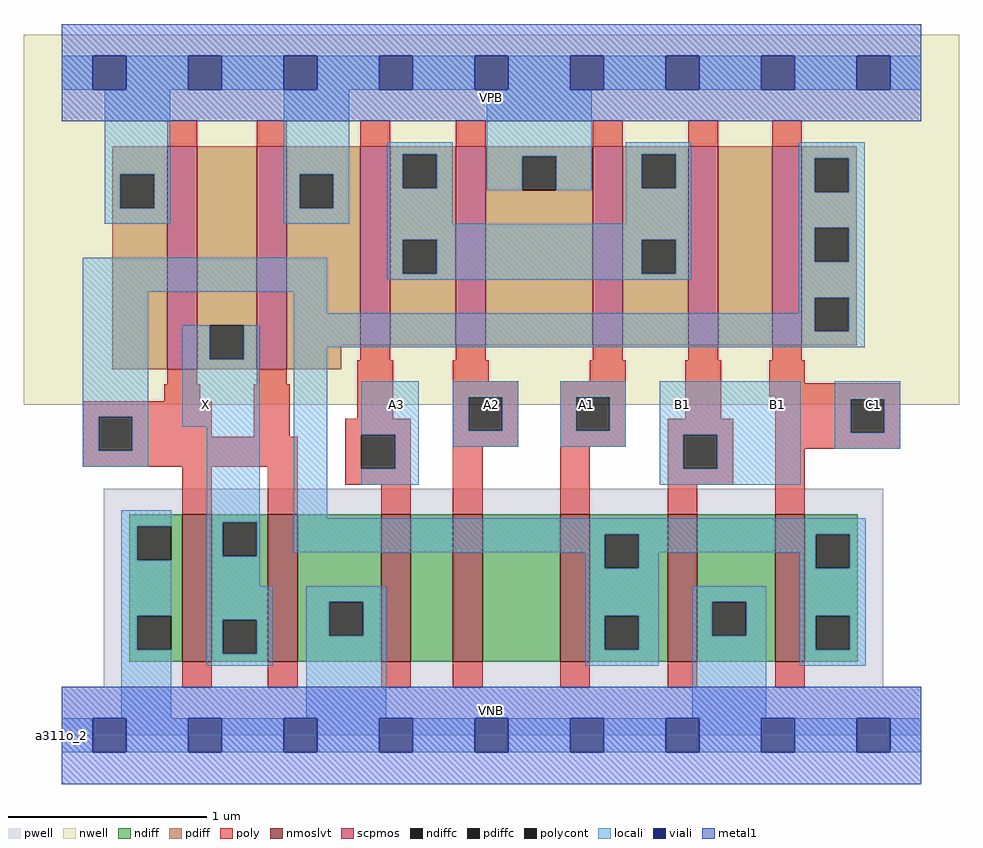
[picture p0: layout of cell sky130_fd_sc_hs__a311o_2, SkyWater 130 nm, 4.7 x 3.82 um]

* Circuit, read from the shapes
.subckt sky130_fd_sc_hs__a311o_2 A1 A2 A3 B1 C1 VGND VNB VPB VPWR X
XM1 X n1 VGND VNB sky130_fd_pr__nfet_01v8_lvt w=0.74 l=0.15 m=2
XM2 n2 A3 VGND VNB sky130_fd_pr__nfet_01v8_lvt w=0.74 l=0.15
XM3 n3 A2 n2 VNB sky130_fd_pr__nfet_01v8_lvt w=0.74 l=0.15
XM4 n1 A1 n3 VNB sky130_fd_pr__nfet_01v8_lvt w=0.74 l=0.15
XM5 VGND B1 n1 VNB sky130_fd_pr__nfet_01v8_lvt w=0.74 l=0.15
XM6 n1 C1 VGND VNB sky130_fd_pr__nfet_01v8_lvt w=0.74 l=0.15
XM7 X n1 VPWR VPB sky130_fd_pr__pfet_01v8 w=1.12 l=0.15 m=2
XM8 n4 A3 VPWR VPB sky130_fd_pr__pfet_01v8 w=1 l=0.15
XM9 VPWR A2 n4 VPB sky130_fd_pr__pfet_01v8 w=1 l=0.15
XM10 n4 A1 VPWR VPB sky130_fd_pr__pfet_01v8 w=1 l=0.15
XM11 n5 B1 n4 VPB sky130_fd_pr__pfet_01v8 w=1 l=0.15
XM12 n1 C1 n5 VPB sky130_fd_pr__pfet_01v8 w=1 l=0.15
.ends

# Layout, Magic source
magic
tech sky130A
magscale 1 2
<< nwell >>
rect -38 332 902 704
<< pwell >>
rect 42 49 826 248
rect 0 0 864 49
<< scpmos >>
rect 106 368 136 592
rect 196 368 226 592
rect 300 392 330 592
rect 396 392 426 592
rect 534 392 564 592
rect 630 392 660 592
rect 714 392 744 592
<< nmoslvt >>
rect 121 74 151 222
rect 207 74 237 222
rect 321 74 351 222
rect 393 74 423 222
rect 501 74 531 222
rect 609 74 639 222
rect 717 74 747 222
<< ndiff >>
rect 68 210 121 222
rect 68 176 76 210
rect 110 176 121 210
rect 68 120 121 176
rect 68 86 76 120
rect 110 86 121 120
rect 68 74 121 86
rect 151 214 207 222
rect 151 180 162 214
rect 196 180 207 214
rect 151 116 207 180
rect 151 82 162 116
rect 196 82 207 116
rect 151 74 207 82
rect 237 134 321 222
rect 237 100 269 134
rect 303 100 321 134
rect 237 74 321 100
rect 351 74 393 222
rect 423 74 501 222
rect 531 202 609 222
rect 531 168 546 202
rect 580 168 609 202
rect 531 120 609 168
rect 531 86 546 120
rect 580 86 609 120
rect 531 74 609 86
rect 639 134 717 222
rect 639 100 654 134
rect 688 100 717 134
rect 639 74 717 100
rect 747 202 800 222
rect 747 168 758 202
rect 792 168 800 202
rect 747 120 800 168
rect 747 86 758 120
rect 792 86 800 120
rect 747 74 800 86
<< pdiff >>
rect 51 564 106 592
rect 51 530 59 564
rect 93 530 106 564
rect 51 368 106 530
rect 136 412 196 592
rect 136 378 149 412
rect 183 378 196 412
rect 136 368 196 378
rect 226 564 300 592
rect 226 530 239 564
rect 273 530 300 564
rect 226 392 300 530
rect 330 584 396 592
rect 330 550 343 584
rect 377 550 396 584
rect 330 498 396 550
rect 330 464 343 498
rect 377 464 396 498
rect 330 392 396 464
rect 426 582 534 592
rect 426 548 463 582
rect 497 548 534 582
rect 426 392 534 548
rect 564 584 630 592
rect 564 550 583 584
rect 617 550 630 584
rect 564 498 630 550
rect 564 464 583 498
rect 617 464 630 498
rect 564 392 630 464
rect 660 392 714 592
rect 744 580 799 592
rect 744 546 757 580
rect 791 546 799 580
rect 744 510 799 546
rect 744 476 757 510
rect 791 476 799 510
rect 744 440 799 476
rect 744 406 757 440
rect 791 406 799 440
rect 744 392 799 406
rect 226 368 281 392
<< ndiffc >>
rect 76 176 110 210
rect 76 86 110 120
rect 162 180 196 214
rect 162 82 196 116
rect 269 100 303 134
rect 546 168 580 202
rect 546 86 580 120
rect 654 100 688 134
rect 758 168 792 202
rect 758 86 792 120
<< pdiffc >>
rect 59 530 93 564
rect 149 378 183 412
rect 239 530 273 564
rect 343 550 377 584
rect 343 464 377 498
rect 463 548 497 582
rect 583 550 617 584
rect 583 464 617 498
rect 757 546 791 580
rect 757 476 791 510
rect 757 406 791 440
<< poly >>
rect 106 592 136 618
rect 196 592 226 618
rect 300 592 330 618
rect 396 592 426 618
rect 534 592 564 618
rect 630 592 660 618
rect 714 592 744 618
rect 300 377 330 392
rect 396 377 426 392
rect 534 377 564 392
rect 630 377 660 392
rect 714 377 744 392
rect 106 353 136 368
rect 196 353 226 368
rect 103 336 139 353
rect 21 320 151 336
rect 21 286 37 320
rect 71 300 151 320
rect 193 300 229 353
rect 297 318 333 377
rect 393 356 429 377
rect 531 356 567 377
rect 393 340 459 356
rect 285 302 351 318
rect 71 286 237 300
rect 21 270 237 286
rect 121 222 151 270
rect 207 222 237 270
rect 285 268 301 302
rect 335 268 351 302
rect 285 252 351 268
rect 321 222 351 252
rect 393 306 409 340
rect 443 306 459 340
rect 393 290 459 306
rect 501 340 567 356
rect 501 306 517 340
rect 551 306 567 340
rect 627 318 663 377
rect 711 354 747 377
rect 711 341 843 354
rect 717 338 843 341
rect 501 290 567 306
rect 609 302 675 318
rect 393 222 423 290
rect 501 222 531 290
rect 609 268 625 302
rect 659 268 675 302
rect 609 252 675 268
rect 717 304 793 338
rect 827 304 843 338
rect 717 288 843 304
rect 609 222 639 252
rect 717 222 747 288
rect 121 48 151 74
rect 207 48 237 74
rect 321 48 351 74
rect 393 48 423 74
rect 501 48 531 74
rect 609 48 639 74
rect 717 48 747 74
<< polycont >>
rect 37 286 71 320
rect 301 268 335 302
rect 409 306 443 340
rect 517 306 551 340
rect 625 268 659 302
rect 793 304 827 338
<< locali >>
rect 0 649 31 683
rect 65 649 127 683
rect 161 649 223 683
rect 257 649 319 683
rect 353 649 415 683
rect 449 649 511 683
rect 545 649 607 683
rect 641 649 703 683
rect 737 649 799 683
rect 833 649 864 683
rect 43 564 109 649
rect 43 530 59 564
rect 93 530 109 564
rect 43 514 109 530
rect 223 564 289 649
rect 223 530 239 564
rect 273 530 289 564
rect 223 514 289 530
rect 327 584 393 596
rect 327 550 343 584
rect 377 550 393 584
rect 327 514 393 550
rect 427 582 533 649
rect 427 548 463 582
rect 497 548 533 582
rect 567 584 633 596
rect 567 550 583 584
rect 617 550 633 584
rect 567 514 633 550
rect 327 498 633 514
rect 21 446 267 480
rect 327 464 343 498
rect 377 464 583 498
rect 617 464 633 498
rect 327 458 633 464
rect 741 580 807 596
rect 741 546 757 580
rect 791 546 807 580
rect 741 510 807 546
rect 741 476 757 510
rect 791 476 807 510
rect 21 320 87 446
rect 233 424 267 446
rect 741 440 807 476
rect 741 424 757 440
rect 21 286 37 320
rect 71 286 87 320
rect 121 378 149 412
rect 183 378 199 412
rect 121 310 199 378
rect 21 270 87 286
rect 60 210 110 226
rect 60 176 76 210
rect 60 120 110 176
rect 60 86 76 120
rect 60 17 110 86
rect 146 214 199 310
rect 146 180 162 214
rect 196 180 199 214
rect 233 406 757 424
rect 791 406 807 440
rect 233 390 807 406
rect 233 218 267 390
rect 301 302 359 356
rect 335 268 359 302
rect 393 340 459 356
rect 393 306 409 340
rect 443 306 459 340
rect 393 290 459 306
rect 501 340 567 356
rect 501 306 517 340
rect 551 306 567 340
rect 501 290 567 306
rect 601 302 743 356
rect 301 252 359 268
rect 601 268 625 302
rect 659 268 743 302
rect 777 338 843 356
rect 777 304 793 338
rect 827 304 843 338
rect 777 288 843 304
rect 601 252 743 268
rect 233 202 808 218
rect 233 184 546 202
rect 146 150 199 180
rect 526 168 546 184
rect 580 184 758 202
rect 580 168 600 184
rect 146 116 212 150
rect 146 82 162 116
rect 196 82 212 116
rect 146 70 212 82
rect 246 134 326 150
rect 246 100 269 134
rect 303 100 326 134
rect 246 17 326 100
rect 526 120 600 168
rect 742 168 758 184
rect 792 168 808 202
rect 526 86 546 120
rect 580 86 600 120
rect 526 70 600 86
rect 634 134 708 150
rect 634 100 654 134
rect 688 100 708 134
rect 634 17 708 100
rect 742 120 808 168
rect 742 86 758 120
rect 792 86 808 120
rect 742 70 808 86
rect 0 -17 31 17
rect 65 -17 127 17
rect 161 -17 223 17
rect 257 -17 319 17
rect 353 -17 415 17
rect 449 -17 511 17
rect 545 -17 607 17
rect 641 -17 703 17
rect 737 -17 799 17
rect 833 -17 864 17
<< viali >>
rect 31 649 65 683
rect 127 649 161 683
rect 223 649 257 683
rect 319 649 353 683
rect 415 649 449 683
rect 511 649 545 683
rect 607 649 641 683
rect 703 649 737 683
rect 799 649 833 683
rect 31 -17 65 17
rect 127 -17 161 17
rect 223 -17 257 17
rect 319 -17 353 17
rect 415 -17 449 17
rect 511 -17 545 17
rect 607 -17 641 17
rect 703 -17 737 17
rect 799 -17 833 17
<< metal1 >>
rect 0 683 864 715
rect 0 649 31 683
rect 65 649 127 683
rect 161 649 223 683
rect 257 649 319 683
rect 353 649 415 683
rect 449 649 511 683
rect 545 649 607 683
rect 641 649 703 683
rect 737 649 799 683
rect 833 649 864 683
rect 0 617 864 649
rect 0 17 864 49
rect 0 -17 31 17
rect 65 -17 127 17
rect 161 -17 223 17
rect 257 -17 319 17
rect 353 -17 415 17
rect 449 -17 511 17
rect 545 -17 607 17
rect 641 -17 703 17
rect 737 -17 799 17
rect 833 -17 864 17
rect 0 -49 864 -17
<< labels >>
rlabel comment s 0 0 0 0 4 a311o_2
flabel pwell s 0 0 864 49 0 FreeSans 200 0 0 0 VNB
port 7 nsew ground bidirectional
flabel nwell s 0 617 864 666 0 FreeSans 200 0 0 0 VPB
port 8 nsew power bidirectional
flabel metal1 s 0 617 864 666 0 FreeSans 340 0 0 0 VPWR
port 9 nsew power bidirectional
flabel metal1 s 0 0 864 49 0 FreeSans 340 0 0 0 VGND
port 6 nsew ground bidirectional
flabel locali s 799 316 833 350 0 FreeSans 340 0 0 0 C1
port 5 nsew signal input
flabel locali s 607 316 641 350 0 FreeSans 340 0 0 0 B1
port 4 nsew signal input
flabel locali s 703 316 737 350 0 FreeSans 340 0 0 0 B1
port 4 nsew signal input
flabel locali s 319 316 353 350 0 FreeSans 340 0 0 0 A3
port 3 nsew signal input
flabel locali s 415 316 449 350 0 FreeSans 340 0 0 0 A2
port 2 nsew signal input
flabel locali s 511 316 545 350 0 FreeSans 340 0 0 0 A1
port 1 nsew signal input
flabel locali s 127 316 161 350 0 FreeSans 340 0 0 0 X
port 10 nsew signal output
<< properties >>
string LEFsite unit
string LEFclass CORE
string FIXED_BBOX 0 0 864 666
string GDS_FILE $PDKPATH/libs.ref/sky130_fd_sc_hs/gds/sky130_fd_sc_hs.gds
string LEFsymmetry X Y
string GDS_END 1813012
string GDS_START 1805796
<< end >>
